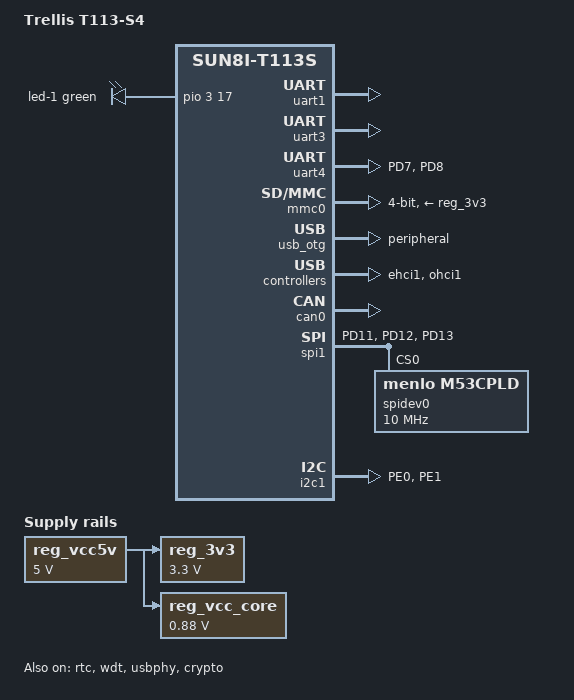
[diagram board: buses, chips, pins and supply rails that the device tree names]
// SPDX-License-Identifier: (GPL-2.0+ OR MIT)
// Copyright (C) 2022 Arm Ltd.
// Copyright (C) 2024 Connor Rigby <connorr@hey.com>

#include <dt-bindings/interrupt-controller/irq.h>

/dts-v1/;

#include <arm/allwinner/sun8i-t113s.dtsi>

#include <dt-bindings/gpio/gpio.h>
#include <dt-bindings/input/input.h>
#include <dt-bindings/leds/common.h>
#include <dt-bindings/pwm/pwm.h>

/ {
	model = "Trellis T113-S4";
	compatible = "protolux,trellis-t113", "allwinner,sun8i-t113s", "allwinner,sun8i";

	aliases {
		serial1 = &uart1;
		serial3 = &uart3;
		serial4 = &uart4;
	};

	chosen {
		stdout-path = "serial4:115200n8";
	};

	leds {
		compatible = "gpio-leds";

		// led-0 {
		// 	color = <LED_COLOR_ID_AMBER>;
		// 	function = LED_FUNCTION_STATUS;
		// 	gpios = <&pio 3 18 GPIO_ACTIVE_HIGH>; /* PD18 */
		// };

		led-1 {
			color = <LED_COLOR_ID_GREEN>;
			function = LED_FUNCTION_STATUS;
			gpios = <&pio 3 17 GPIO_ACTIVE_HIGH>; /* PD17 */
			linux,default-trigger = "heartbeat";
		};
	};

	reg_vcc5v: regulator-5v {
		compatible = "regulator-fixed";
		regulator-name = "vcc-5v";
		regulator-min-microvolt = <5000000>;
		regulator-max-microvolt = <5000000>;
		regulator-always-on;
	};

	reg_3v3: regulator-3v3 {
		compatible = "regulator-fixed";
		regulator-name = "vcc-3v3";
		regulator-min-microvolt = <3300000>;
		regulator-max-microvolt = <3300000>;
		vin-supply = <&reg_vcc5v>;
	};

	reg_vcc_core: regulator-core {
		compatible = "regulator-fixed";
		regulator-name = "vcc-core";
		regulator-min-microvolt = <880000>;
		regulator-max-microvolt = <880000>;
		vin-supply = <&reg_vcc5v>;
	};
};

&cpu0 {
	cpu-supply = <&reg_vcc_core>;
};

&cpu1 {
	cpu-supply = <&reg_vcc_core>;
};

&rtc {
	status = "okay";
};

&dcxo {
	clock-frequency = <24000000>;
};

&wdt {
	status = "okay";
};

&pio {
	vcc-pb-supply = <&reg_3v3>;
	vcc-pc-supply = <&reg_3v3>;
	vcc-pd-supply = <&reg_3v3>;
	vcc-pe-supply = <&reg_3v3>;
	vcc-pf-supply = <&reg_3v3>;
	vcc-pg-supply = <&reg_3v3>;

	gpio-line-names =
		/* PA */
		"","","","","","","","",
		"","","","","","","","",
		"","","","","","","","",
		"","","","","","","","",
		/* PB */
		"","","","","","","","",
		"","","","","","","","",
		"","","","","","","","",
		"","","","","","","","",
		/* PC */
		"","","CAN_SIL","","","","","",
		"","","","","","","","",
		"","","","","","","","",
		"","","","","","","","",
		/* PD */
		"","","PD2","PD3","PD4","PD5","PD6","",
		"","PD9","","","","","ESP_BOOT","",
		"ESP_RESET","","LED","","PD20","","PD22","",
		"","","","","","","","",
		/* PE */
		"","","PE2","PE3","PE4","PE5","","",
		"PE8","PE9","PE10","PE11","PE12","PE13","","",
		"","","","","","","","",
		"","","","","","","","",
		/* PF */
		"","","","","","","PF6","",
		"","","","","","","","",
		"","","","","","","","",
		"","","","","","","","",
		/* PG */
		"","","","","","","","",
		"","","","","","","","",
		"","","","","","","","",
		"","","","","","","","";

	/omit-if-no-ref/
	uart1_pg8_rts_pin: uart1-pg8-rts-pin {
		pins = "PG8";
		function = "uart1";
	};

	uart4_pd_pins: uart4-pd-pins {
		pins = "PD7", "PD8";
		function = "uart4";
	};

	/omit-if-no-ref/
	spi1_pd_pins: spi1-pd-pins {
		pins = "PD11", "PD12", "PD13";
		function = "spi1";
	};

	i2c1_pe_pins: i2c1-pe-pins {
		pins = "PE0", "PE1";
		function = "i2c1";
	};
};

/* RS485 */
&uart1 {
    pinctrl-names = "default";
    pinctrl-0 = <&uart1_pg6_pins>;
    status = "okay";
};

/* ESP32 bootloader */
&uart3 {
	pinctrl-names = "default";
	pinctrl-0 = <&uart3_pb_pins>;
	status = "okay";
};

/* shell */
&uart4 {
	pinctrl-names = "default";
	pinctrl-0 = <&uart4_pd_pins>;
	status = "okay";
};

&mmc0 {
	pinctrl-names = "default";
	pinctrl-0 = <&mmc0_pins>;
	vmmc-supply = <&reg_3v3>;
	disable-wp;
	bus-width = <4>;
	status = "okay";
};

&usb_otg {
	dr_mode = "peripheral";
	status = "okay";
};

&usbphy {
	status = "okay";
};

&ehci1 {
	status = "okay";
};

&ohci1 {
	status = "okay";
};

&can0 {
	pinctrl-names = "default";
	pinctrl-0 = <&can0_pins>;
	status = "okay";
};

&spi0 {
	status = "disabled";
};

&spi1 {
	pinctrl-names = "default";
	pinctrl-0 = <&spi1_pd_pins>;
	status = "okay";

	/* Generic spidev on chip-select 0  → /dev/spidev0.0 */
	spidev0: spidev@0 {
	  compatible = "menlo,m53cpld";
	  reg = <0>;
	  spi-max-frequency = <10000000>;
	};
};

&i2c1 {
	pinctrl-names = "default";
	pinctrl-0 = <&i2c1_pe_pins>;
	status = "okay";
};

&mixer0 {
	status = "disabled";
};

&tcon_top {
	status = "disabled";
};

&tcon_lcd0 {
	status = "disabled";
};

&crypto {
	status = "okay";
};
